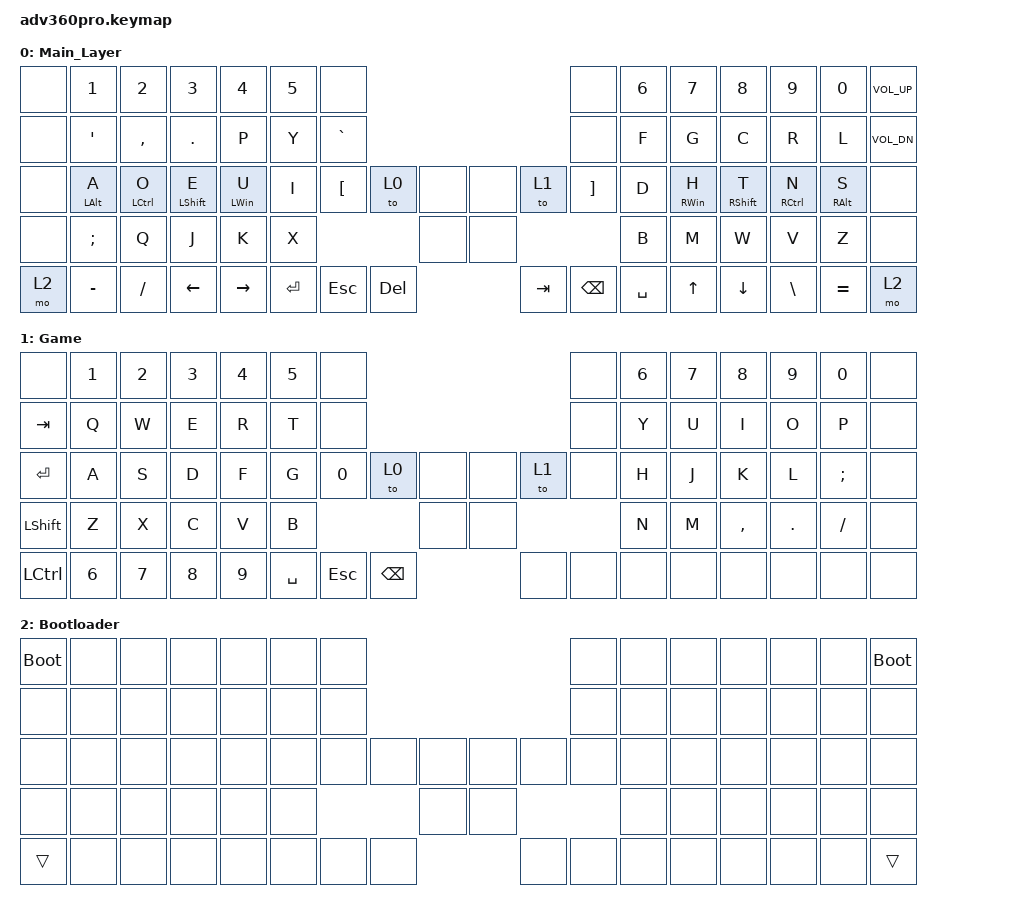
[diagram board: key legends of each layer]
#include <behaviors.dtsi>
#include <dt-bindings/zmk/keys.h>

&mt {
    tapping-term-ms = <60>;
    flavor = "balanced";
    retro-tap;
    quick-tap-ms = <200>;
};

/ {
    keymap {
        compatible = "zmk,keymap";

        Main_Layer {
            bindings = <
&none  &kp N1            &kp N2       &kp N3            &kp N4          &kp N5  &none                                                                                     &none              &kp N6  &kp N7           &kp N8             &kp N9         &kp N0           &kp C_VOLUME_UP
&none  &kp SINGLE_QUOTE  &kp COMMA    &kp DOT           &kp P           &kp Y   &kp GRAVE                                                                                 &none              &kp F   &kp G            &kp C              &kp R          &kp L            &kp C_VOL_DN
&none  &mt LEFT_ALT A    &mt LCTRL O  &mt LEFT_SHIFT E  &mt LEFT_WIN U  &kp I   &kp LEFT_BRACKET             &to 0       &none         &none    &to 1                     &kp RIGHT_BRACKET  &kp D   &mt RIGHT_WIN H  &mt RIGHT_SHIFT T  &mt RCTRL N    &mt RIGHT_ALT S  &none
&none  &kp SEMICOLON     &kp Q        &kp J             &kp K           &kp X                                            &none         &none                                                 &kp B   &kp M            &kp W              &kp V          &kp Z            &none
&mo 2  &kp MINUS         &kp SLASH    &kp LEFT          &kp RIGHT                                 &kp ENTER  &kp ESCAPE  &kp DELETE    &kp TAB  &kp BACKSPACE  &kp SPACE                             &kp UP_ARROW     &kp DOWN           &kp BACKSLASH  &kp EQUAL        &mo 2
            >;
        };

        Game {
            bindings = <
&none           &kp NUMBER_1  &kp NUMBER_2  &kp NUMBER_3  &kp NUMBER_4  &kp NUMBER_5  &none                                                                      &none  &kp NUMBER_6  &kp NUMBER_7  &kp NUMBER_8  &kp NUMBER_9  &kp NUMBER_0   &none
&kp TAB         &kp Q         &kp W         &kp E         &kp R         &kp T         &none                                                                      &none  &kp Y         &kp U         &kp I         &kp O         &kp P          &none
&kp ENTER       &kp A         &kp S         &kp D         &kp F         &kp G         &kp NUMBER_0             &to 0       &none            &none  &to 1         &none  &kp H         &kp J         &kp K         &kp L         &kp SEMICOLON  &none
&kp LEFT_SHIFT  &kp Z         &kp X         &kp C         &kp V         &kp B                                              &none            &none                       &kp N         &kp M         &kp COMMA     &kp DOT       &kp SLASH      &none
&kp LCTRL       &kp NUMBER_6  &kp NUMBER_7  &kp N8        &kp NUMBER_9                              &kp SPACE  &kp ESCAPE  &kp BACKSPACE    &none  &none  &none                       &none         &none         &none         &none          &none
            >;
        };

        Bootloader {
            bindings = <
&bootloader  &none  &none  &none  &none  &none  &none                                              &none  &none  &none  &none  &none  &none  &bootloader
&none        &none  &none  &none  &none  &none  &none                                              &none  &none  &none  &none  &none  &none  &none
&none        &none  &none  &none  &none  &none  &none         &none  &none    &none  &none         &none  &none  &none  &none  &none  &none  &none
&none        &none  &none  &none  &none  &none                       &none    &none                       &none  &none  &none  &none  &none  &none
&trans       &none  &none  &none  &none                &none  &none  &none    &none  &none  &none                &none  &none  &none  &none  &trans
            >;
        };
    };
};
